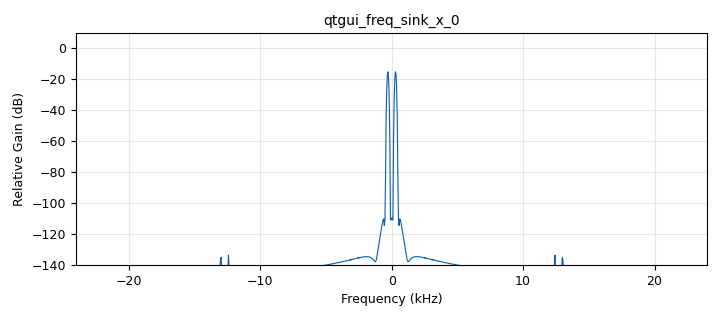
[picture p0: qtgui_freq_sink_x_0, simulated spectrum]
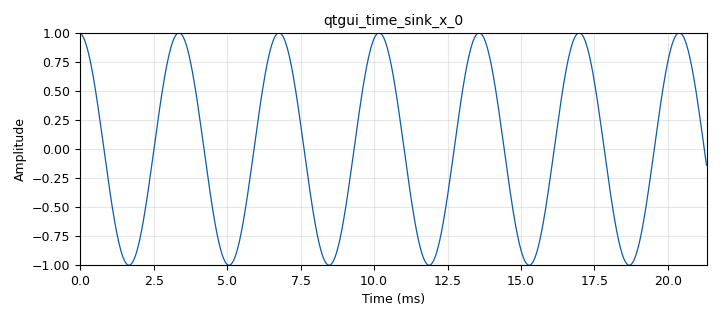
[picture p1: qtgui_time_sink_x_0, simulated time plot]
options:
  parameters:
    category: Custom
    generate_options: qt_gui
    id: top_block
    output_language: python
  states: {}

blocks:
- name: samp_rate
  id: variable
  parameters:
    value: '48000'
  states: {}
- name: audio_sink_0
  id: audio_sink
  parameters:
    samp_rate: '48000'
  states: {}
- name: blocks_repeat_1
  id: blocks_repeat
  parameters:
    interp: '24000'
    type: float
  states: {}
- name: blocks_throttle_0
  id: blocks_throttle
  parameters:
    samples_per_second: samp_rate
    type: float
  states: {}
- name: blocks_vco_f_0
  id: blocks_vco_f
  parameters:
    amplitude: '1'
    samp_rate: samp_rate
    sensitivity: '6.28318530718'
  states: {}
- name: f
  id: blocks_vector_source_x
  parameters:
    repeat: 'True'
    type: float
    vector: (261.63, 261.63, 293.66, 261.63, 349.23, 329.63, 261.63, 261.63, 293.66, 261.63, 392.00, 349.23, 261.63, 261.63, 523.25, 440.00, 392.00, 349.23, 329.63, 466.16, 466.16, 440.00, 349.23, 392.00, 349.23)
  states: {}
- name: qtgui_freq_sink_x_0
  id: qtgui_freq_sink_x
  parameters:
    bw: samp_rate
    fc: '0'
    fftsize: '1024'
    showports: 'True'
    type: float
    wintype: firdes.WIN_BLACKMAN_hARRIS
  states: {}
- name: qtgui_time_sink_x_0
  id: qtgui_time_sink_x
  parameters:
    label1: ''
    size: '1024'
    srate: samp_rate
    type: float
  states: {}

connections:
- [blocks_repeat_1, '0', blocks_vco_f_0, '0']
- [blocks_throttle_0, '0', audio_sink_0, '0']
- [blocks_throttle_0, '0', qtgui_freq_sink_x_0, '0']
- [blocks_throttle_0, '0', qtgui_time_sink_x_0, '0']
- [blocks_vco_f_0, '0', blocks_throttle_0, '0']
- [f, '0', blocks_repeat_1, '0']

metadata:
  file_format: 1
